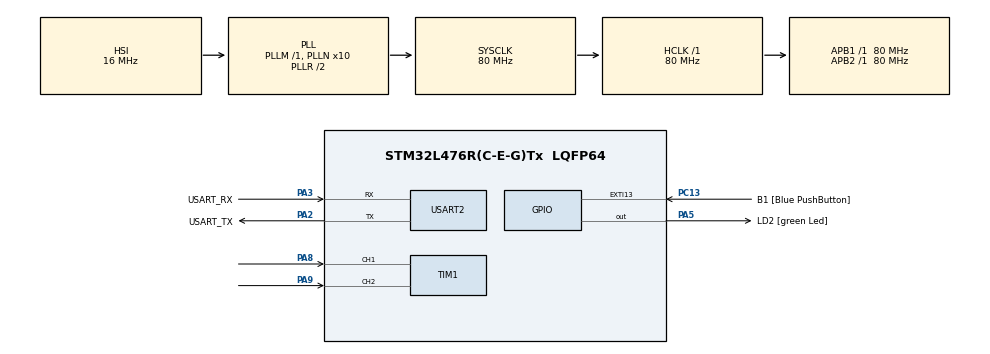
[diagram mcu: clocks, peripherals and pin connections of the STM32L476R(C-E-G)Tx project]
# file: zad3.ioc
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ARM.CMSIS-DSP.1.16.2.CMSISJjDSP=Source
ARM.CMSIS.6.2.0.CMSISJjCORE=true
Mcu.Family=STM32L4
Mcu.Name=STM32L476R(C-E-G)Tx
Mcu.Package=LQFP64
NVIC.PriorityGroup=NVIC_PRIORITYGROUP_4
PA13\ (JTMS-SWDIO).GPIO_Label=TMS
PA13\ (JTMS-SWDIO).Mode=Trace_Asynchronous_SW
PA13\ (JTMS-SWDIO).Signal=SYS_JTMS-SWDIO
PA14\ (JTCK-SWCLK).GPIO_Label=TCK
PA14\ (JTCK-SWCLK).Mode=Trace_Asynchronous_SW
PA14\ (JTCK-SWCLK).Signal=SYS_JTCK-SWCLK
PA2.GPIO_Label=USART_TX
PA2.GPIO_Mode=GPIO_MODE_AF_PP
PA2.GPIO_PuPd=GPIO_NOPULL
PA2.GPIO_Speed=GPIO_SPEED_FREQ_VERY_HIGH
PA2.Mode=Asynchronous
PA2.Signal=USART2_TX
PA3.GPIO_Label=USART_RX
PA3.GPIO_Mode=GPIO_MODE_AF_PP
PA3.GPIO_PuPd=GPIO_NOPULL
PA3.GPIO_Speed=GPIO_SPEED_FREQ_VERY_HIGH
PA3.Mode=Asynchronous
PA3.Signal=USART2_RX
PA5.GPIO_Label=LD2 [green Led]
PA5.GPIO_ModeDefaultOutputPP=GPIO_MODE_OUTPUT_PP
PA5.GPIO_PuPd=GPIO_NOPULL
PA5.GPIO_Speed=GPIO_SPEED_FREQ_LOW
PA5.Signal=GPIO_Output
PA8.Signal=S_TIM1_CH1
PA9.Signal=S_TIM1_CH2
PB3\ (JTDO-TRACESWO).GPIO_Label=SWO
PB3\ (JTDO-TRACESWO).Mode=Trace_Asynchronous_SW
PB3\ (JTDO-TRACESWO).Signal=SYS_JTDO-SWO
PC13.GPIO_Label=B1 [Blue PushButton]
PC13.GPIO_ModeDefaultEXTI=GPIO_MODE_IT_FALLING
PC13.GPIO_PuPd=GPIO_NOPULL
PC13.Signal=GPXTI13
PC14-OSC32_IN\ (PC14).Mode=LSE-External-Oscillator
PC14-OSC32_IN\ (PC14).Signal=RCC_OSC32_IN
PC15-OSC32_OUT\ (PC15).Mode=LSE-External-Oscillator
PC15-OSC32_OUT\ (PC15).Signal=RCC_OSC32_OUT
PH0-OSC_IN\ (PH0).Signal=RCC_OSC_IN
PH1-OSC_OUT\ (PH1).Signal=RCC_OSC_OUT
ProjectManager.HeapSize=0x200
ProjectManager.StackSize=0x400
ProjectManager.TargetToolchain=STM32CubeIDE
RCC.ADCFreq_Value=64000000
RCC.AHBFreq_Value=80000000
RCC.APB1Freq_Value=80000000
RCC.APB1TimFreq_Value=80000000
RCC.APB2Freq_Value=80000000
RCC.APB2TimFreq_Value=80000000
RCC.CortexFreq_Value=80000000
RCC.HCLKFreq_Value=80000000
RCC.HSE_VALUE=8000000
RCC.HSI_VALUE=16000000
RCC.MSI_VALUE=4000000
RCC.PLLN=10
RCC.PLLSourceVirtual=RCC_PLLSOURCE_HSI
RCC.PREFETCH_ENABLE=1
RCC.SYSCLKFreq_VALUE=80000000
RCC.SYSCLKSource=RCC_SYSCLKSOURCE_PLLCLK
RCC.USBFreq_Value=64000000
RCC.VCOOutputFreq_Value=160000000
SH.S_TIM1_CH1.0=TIM1_CH1,Encoder_Interface
SH.S_TIM1_CH2.0=TIM1_CH2,Encoder_Interface
TIM1.EncoderMode=TIM_ENCODERMODE_TI12
USART2.VirtualMode-Asynchronous=VM_ASYNC
VP_ARM.CMSIS-DSP_VS_CMSISJjDSP_1.16.2_1.16.2.Mode=CMSISJjDSP
VP_ARM.CMSIS_VS_CMSISJjCORE_6.1.1_6.2.0.Mode=CMSISJjCORE
board=NUCLEO-L476RG

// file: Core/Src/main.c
/* USER CODE BEGIN Header */
/**
  ******************************************************************************
  * @file           : main.c
  * @brief          : Main program body
  ******************************************************************************
  * @attention
  *
  * Copyright (c) 2025 STMicroelectronics.
  * All rights reserved.
  *
  * This software is licensed under terms that can be found in the LICENSE file
  * in the root directory of this software component.
  * If no LICENSE file comes with this software, it is provided AS-IS.
  *
  ******************************************************************************
  */
/* USER CODE END Header */
#include "main.h"
#include "tim.h"
#include "usart.h"
#include "gpio.h"

/* USER CODE BEGIN Includes */
#include "stdio.h"
#include "arm_math.h"

/* USER CODE END Includes */

/* USER CODE BEGIN PD */
#define FIR_TAP_NUM 16
/* USER CODE END PD */

void SystemClock_Config(void);

/* USER CODE BEGIN 0 */
float32_t enc_value, filtered_value;
int16_t curr_value, filtered_value_int;
float32_t noise;
float32_t firCoeffs[FIR_TAP_NUM] = {
    0.0625, 0.0625, 0.0625, 0.0625,
    0.0625, 0.0625, 0.0625, 0.0625,
    0.0625, 0.0625, 0.0625, 0.0625,
    0.0625, 0.0625, 0.0625, 0.0625
};
float32_t firState[FIR_TAP_NUM + 1];

int __io_putchar(char ch)
{
	uint8_t chx;
	if(ch == '\n')
	{
		chx = '\r';
		HAL_UART_Transmit(&huart2, &chx, 1, HAL_MAX_DELAY);
	}
	chx = ch;
	HAL_UART_Transmit(&huart2, &chx, 1, HAL_MAX_DELAY);
	return 1;
}

float32_t RMSE ( const float32_t * y , const float32_t * yref , const uint32_t len )
{
	float32_t err [ len ];
	arm_sub_f32 ( yref , y , err , len ) ;
	float32_t rmse ;
	arm_rms_f32 ( err , len , & rmse ) ;
	return rmse ;
}

/* USER CODE END 0 */

int main(void)
{

  /* MCU Configuration--------------------------------------------------------*/

  /* Reset of all peripherals, Initializes the Flash interface and the Systick. */
  HAL_Init();

  /* Configure the system clock */
  SystemClock_Config();

  /* Initialize all configured peripherals */
  MX_GPIO_Init();
  MX_USART2_UART_Init();
  MX_TIM1_Init();
  /* USER CODE BEGIN 2 */
  arm_fir_instance_f32 S;
  arm_fir_init_f32(&S, FIR_TAP_NUM, firCoeffs, firState, 1);
  HAL_TIM_Encoder_Start(&htim1, TIM_CHANNEL_ALL);

  /* USER CODE END 2 */

  /* Infinite loop */
  /* USER CODE BEGIN WHILE */
  while (1)
  {
	curr_value = __HAL_TIM_GET_COUNTER(&htim1);
    enc_value = (float32_t)curr_value;
    arm_fir_f32(&S, &enc_value, &filtered_value, 1);
    filtered_value_int = (int16_t)filtered_value;
    noise = RMSE(&enc_value, &filtered_value, 1);
	 HAL_Delay(10);
    /* USER CODE END WHILE */

  }
}

void SystemClock_Config(void)
{
  RCC_OscInitTypeDef RCC_OscInitStruct = {0};
  RCC_ClkInitTypeDef RCC_ClkInitStruct = {0};

  /** Configure the main internal regulator output voltage
  */
  if (HAL_PWREx_ControlVoltageScaling(PWR_REGULATOR_VOLTAGE_SCALE1) != HAL_OK)
  {
    Error_Handler();
  }

  /** Initializes the RCC Oscillators according to the specified parameters
  * in the RCC_OscInitTypeDef structure.
  */
  RCC_OscInitStruct.OscillatorType = RCC_OSCILLATORTYPE_HSI;
  RCC_OscInitStruct.HSIState = RCC_HSI_ON;
  RCC_OscInitStruct.HSICalibrationValue = RCC_HSICALIBRATION_DEFAULT;
  RCC_OscInitStruct.PLL.PLLState = RCC_PLL_ON;
  RCC_OscInitStruct.PLL.PLLSource = RCC_PLLSOURCE_HSI;
  RCC_OscInitStruct.PLL.PLLM = 1;
  RCC_OscInitStruct.PLL.PLLN = 10;
  RCC_OscInitStruct.PLL.PLLP = RCC_PLLP_DIV7;
  RCC_OscInitStruct.PLL.PLLQ = RCC_PLLQ_DIV2;
  RCC_OscInitStruct.PLL.PLLR = RCC_PLLR_DIV2;
  if (HAL_RCC_OscConfig(&RCC_OscInitStruct) != HAL_OK)
  {
    Error_Handler();
  }

  /** Initializes the CPU, AHB and APB buses clocks
  */
  RCC_ClkInitStruct.ClockType = RCC_CLOCKTYPE_HCLK|RCC_CLOCKTYPE_SYSCLK
                              |RCC_CLOCKTYPE_PCLK1|RCC_CLOCKTYPE_PCLK2;
  RCC_ClkInitStruct.SYSCLKSource = RCC_SYSCLKSOURCE_PLLCLK;
  RCC_ClkInitStruct.AHBCLKDivider = RCC_SYSCLK_DIV1;
  RCC_ClkInitStruct.APB1CLKDivider = RCC_HCLK_DIV1;
  RCC_ClkInitStruct.APB2CLKDivider = RCC_HCLK_DIV1;

  if (HAL_RCC_ClockConfig(&RCC_ClkInitStruct, FLASH_LATENCY_4) != HAL_OK)
  {
    Error_Handler();
  }
}

void Error_Handler(void)
{
  __disable_irq();
  while (1)
  {
  }
}
